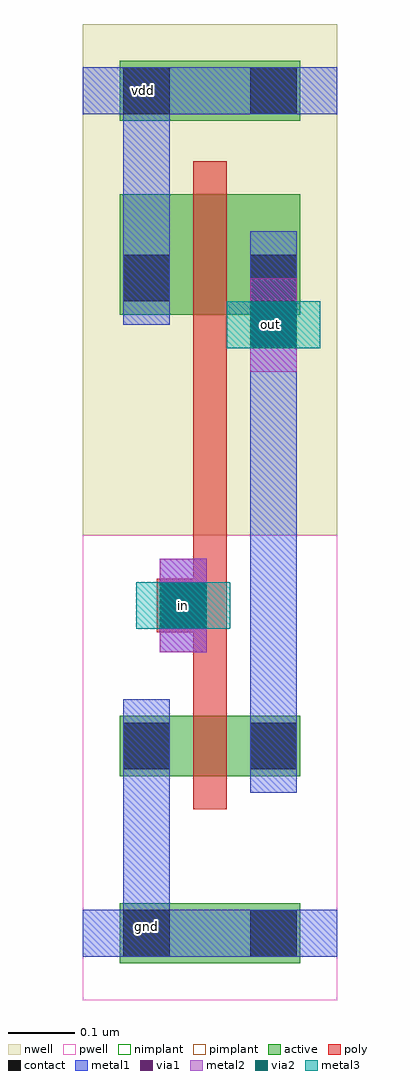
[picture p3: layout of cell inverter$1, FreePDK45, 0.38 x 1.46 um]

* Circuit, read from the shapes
.subckt inverter$1 gnd in out vdd
M1 out in gnd gnd nfet w=0.09u l=0.05u
M2 out in vdd vdd pfet w=0.18u l=0.05u
.ends

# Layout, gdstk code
import gdstk
lib = gdstk.Library(unit=1e-6, precision=1e-09)
def R(c, l, rs):  # rectangles x0, y0, x1, y1
    for r in rs: c.add(gdstk.rectangle(r[:2], r[2:], *l))
active = (1, 0)
pwell = (2, 0)
nwell = (3, 0)
nimplant = (4, 0)
pimplant = (5, 0)
poly = (9, 0)
contact = (10, 0)
metal1 = (11, 0)
via1 = (12, 0)
metal2 = (13, 0)
via2 = (14, 0)
metal3 = (15, 0)

inverter_1 = lib.new_cell('inverter$1')
R(inverter_1, active, [(0.055,-0.045,0.325,0.045), (0.055,0.235,0.325,0.325), (0.055,0.925,0.325,1.105), (0.055,1.215,0.325,1.305)])
R(inverter_1, pwell, [(0,-0.1,0.38,0.595)])
R(inverter_1, nwell, [(0,0.595,0.38,1.36)])
R(inverter_1, nimplant, [(0.055,0.235,0.325,0.325), (0.055,1.215,0.325,1.305)])
R(inverter_1, pimplant, [(0.055,-0.045,0.325,0.045), (0.055,0.925,0.325,1.105)])
R(inverter_1, poly, [(0.165,0.185,0.215,1.155), (0.11,0.45,0.165,0.53)])
R(inverter_1, contact, [(0.06,-0.035,0.13,0.035), (0.25,-0.035,0.32,0.035), (0.06,0.245,0.13,0.315), (0.25,0.245,0.32,0.315), (0.115,0.455,0.185,0.525), (0.06,0.945,0.13,1.015), (0.25,0.945,0.32,1.015), (0.06,1.225,0.13,1.295), (0.25,1.225,0.32,1.295)])
R(inverter_1, metal1, [(0,-0.035,0.38,0.035), (0.06,0.035,0.13,0.35), (0.25,0.21,0.32,1.05), (0.115,0.42,0.185,0.56), (0.06,0.91,0.13,1.225), (0,1.225,0.38,1.295)])
R(inverter_1, via1, [(0.115,0.455,0.185,0.525), (0.25,0.875,0.32,0.945)])
R(inverter_1, metal2, [(0.115,0.42,0.185,0.56), (0.25,0.84,0.32,0.98)])
R(inverter_1, via2, [(0.115,0.455,0.185,0.525), (0.25,0.875,0.32,0.945)])
R(inverter_1, metal3, [(0.08,0.455,0.22,0.525), (0.215,0.875,0.355,0.945)])
inverter_1.add(gdstk.Label('gnd', (0.095,0.01), layer=11, texttype=0))
inverter_1.add(gdstk.Label('vdd', (0.09,1.26), layer=11, texttype=0))
inverter_1.add(gdstk.Label('out', (0.28,0.91), layer=15, texttype=0))
inverter_1.add(gdstk.Label('in', (0.15,0.49), layer=15, texttype=0))

lib.write_gds('inverter_1.gds')
